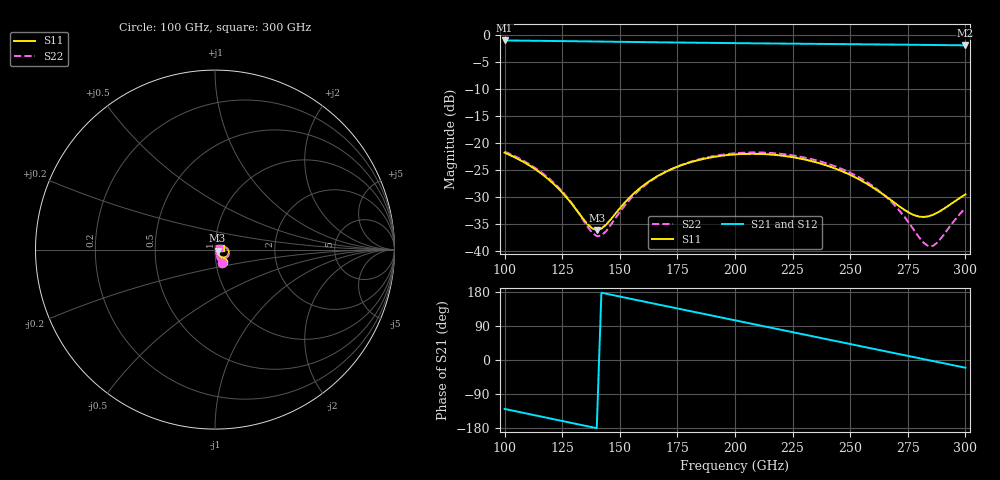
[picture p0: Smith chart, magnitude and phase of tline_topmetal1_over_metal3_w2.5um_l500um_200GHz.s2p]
#  GHZ S DB R 50
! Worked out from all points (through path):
!   101 points, 100 GHz to 300 GHz, reference 50 ohm
!   highest |S21| = -1.06 dB at 100 GHz (marker M1); lowest = -2.0 dB at 300 GHz (marker M2)
!   group delay of S21, straight-line fit = 3.49 ps
!   lowest |S11| = -36.1 dB at 140 GHz (marker M3), VSWR 1.03, Z = 51.4 - j0.68 ohm
!   |S11| at or under -10 dB: start of sweep to end of sweep
!   |S22| runs from -39.1 to -21.6 dB; largest |S21 - S12| = 1.4e-14
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100  -21.83 -58.9  -1.06 -129.1  -1.06 -129.1  -21.64 -61.7
110  -24.00 -66.8  -1.11 -141.9  -1.11 -141.9  -23.77 -70.4
120  -27.12 -71.6  -1.16 -154.6  -1.16 -154.6  -26.88 -76.6
128  -30.68 -69.0  -1.20 -164.7  -1.20 -164.7  -30.52 -76.1
134  -34.04 -56.3  -1.23 -172.3  -1.23 -172.3  -34.23 -65.7
138  -35.85 -37.3  -1.25 -177.4  -1.25 -177.4  -36.66 -47.0
140  -36.15 -25.1  -1.26 -179.9  -1.26 -179.9  -37.28 -33.1
144  -35.18 -2.5  -1.28 175.0  -1.28 175.0  -36.39 -5.6
152  -31.15 17.9  -1.32 164.9  -1.32 164.9  -31.69 17.6
158  -28.67 20.5  -1.35 157.4  -1.35 157.4  -28.94 19.9
168  -25.79 17.0  -1.41 144.8  -1.41 144.8  -25.85 15.4
184  -23.22 4.7  -1.49 124.8  -1.49 124.8  -23.11 1.7
200  -22.15 -10.1  -1.56 104.7  -1.56 104.7  -21.95 -14.5
216  -22.19 -25.2  -1.62 84.7  -1.62 84.7  -21.90 -31.2
234  -23.48 -41.0  -1.69 62.2  -1.69 62.2  -23.11 -49.8
254  -26.81 -53.3  -1.77 37.1  -1.77 37.1  -26.45 -68.1
268  -30.71 -50.2  -1.82 19.6  -1.82 19.6  -30.98 -74.5
278  -33.44 -30.7  -1.87 7.1  -1.87 7.1  -36.35 -62.6
282  -33.73 -18.5  -1.88 2.1  -1.88 2.1  -38.57 -44.8
284  -33.61 -12.4  -1.89 -0.4  -1.89 -0.4  -39.14 -31.9
288  -32.90 -1.7  -1.91 -5.4  -1.91 -5.4  -38.40 -6.1
300  -29.55 12.8  -1.96 -20.3  -1.96 -20.3  -32.08 20.1
